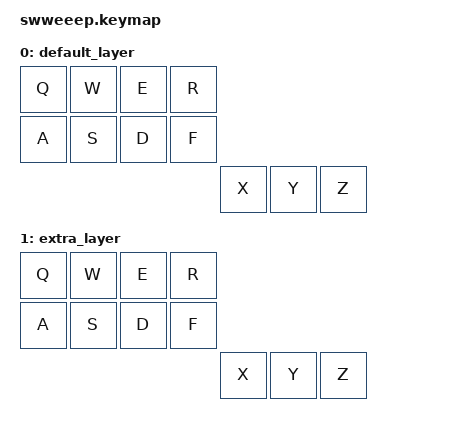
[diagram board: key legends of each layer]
#include <behaviors.dtsi>
#include <dt-bindings/zmk/keys.h>
#include <dt-bindings/zmk/bt.h>
#include <dt-bindings/zmk/ext_power.h>
#include <dt-bindings/zmk/outputs.h>





    keymap {
        compatible = "zmk,keymap";

        default_layer {
            bindings = <
    &kp Q    &kp W    &kp E    &kp R                                                         
    &kp A    &kp S    &kp D    &kp F                                                         
                                    &kp X    &kp Y    &kp Z                           
            >;
        };



        extra_layer {
            bindings = <
    &kp Q    &kp W    &kp E    &kp R                                                         
    &kp A    &kp S    &kp D    &kp F                                                             
                                    &kp X    &kp Y    &kp Z                           
            >;
        };



    };
};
